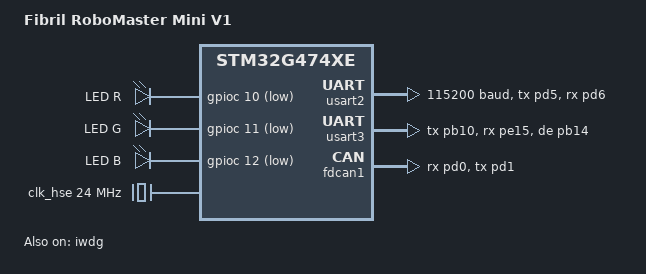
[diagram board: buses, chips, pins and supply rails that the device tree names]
/*
 * SPDX-License-Identifier: Apache-2.0
 *
 * Board configuration for the Fibril RoboMaster Mini V1. Pin assignments are
 * taken from CanMotorMbed/src/targets/robomaster_miniv1 so that hardware built
 * for that firmware works unmodified.
 */

/dts-v1/;
#include <st/g4/stm32g474Xe.dtsi>
#include <st/g4/stm32g474v(b-c-e)tx-pinctrl.dtsi>

/ {
	model = "Fibril RoboMaster Mini V1";
	compatible = "fibril,robomaster-miniv1";

	chosen {
		zephyr,console = &usart2;
		zephyr,shell-uart = &usart2;
		zephyr,sram = &sram0;
		zephyr,flash = &flash0;
	};

	leds: leds {
		compatible = "gpio-leds";

		led_r: led_r {
			gpios = <&gpioc 10 GPIO_ACTIVE_LOW>;
			label = "LED R";
		};

		led_g: led_g {
			gpios = <&gpioc 11 GPIO_ACTIVE_LOW>;
			label = "LED G";
		};

		led_b: led_b {
			gpios = <&gpioc 12 GPIO_ACTIVE_LOW>;
			label = "LED B";
		};
	};

	aliases {
		led0 = &led_g;
		watchdog0 = &iwdg;
	};
};

/* HSE 24 MHz crystal -> PLL -> 160 MHz SYSCLK. HSI48 is left on so USB and other
 * 48 MHz peripherals can source from it through CLK48_SEL when needed.
 */
&clk_hse {
	clock-frequency = <DT_FREQ_M(24)>;
	status = "okay";
};

&clk_hsi48 {
	status = "okay";
};

/* PLL_Q is used as the FDCAN kernel clock (see &fdcan1 below). We need it at
 * or below FDCAN's 80 MHz ceiling and high enough that the 5 Mbps FD data
 * phase has integer time-quanta per bit. VCO = 24 MHz / div-m * mul-n = 320
 * MHz, so div-q = 4 lands PLL_Q at 80 MHz — 16 tq @ 5 Mbps, 80 tq @ 1 Mbps.
 * HSE (24 MHz) would leave 4.8 tq/bit at 5 Mbps, which is not representable.
 */
&pll {
	div-m = <6>;
	mul-n = <80>;
	div-p = <2>;
	div-q = <4>;
	div-r = <2>;
	clocks = <&clk_hse>;
	status = "okay";
};

&rcc {
	clocks = <&pll>;
	clock-frequency = <DT_FREQ_M(160)>;
	ahb-prescaler = <1>;
	apb1-prescaler = <1>;
	apb2-prescaler = <1>;
};

/* Console on the target's STDIO pins (PD5/PD6). */
&usart2 {
	pinctrl-0 = <&usart2_tx_pd5 &usart2_rx_pd6>;
	pinctrl-names = "default";
	current-speed = <115200>;
	status = "okay";
};

/* RS485 bus for the AMT21x encoders. TX=PB10, RX=PE15, DE=PB14. Left disabled
 * here so overlays can add the amt21 child nodes and pick baud / DMA settings.
 */
&usart3 {
	pinctrl-0 = <&usart3_tx_pb10 &usart3_rx_pe15 &usart3_de_pb14>;
	pinctrl-names = "default";
};

/* Kernel clock is PLL_Q at 80 MHz — the FDCAN ceiling. That kernel rate is
 * shared across every FDCAN instance on this SoC and is high enough to divide
 * cleanly at both 1 Mbps arbitration (80 tq/bit) and 5 Mbps FD data (16 tq/bit).
 * Overlays only need to flip status to "okay" and set the bitrate.
 */
&fdcan1 {
	clocks = <&rcc STM32_CLOCK(APB1, 25)>,
		 <&rcc STM32_SRC_PLL_Q FDCAN_SEL(1)>;
	pinctrl-0 = <&fdcan1_rx_pd0 &fdcan1_tx_pd1>;
	pinctrl-names = "default";
};

&iwdg {
	status = "okay";
};

&flash0 {
	partitions {
		compatible = "fixed-partitions";
		#address-cells = <1>;
		#size-cells = <1>;

		boot_partition: partition@0 {
			label = "mcuboot";
			reg = <0x00000000 DT_SIZE_K(48)>;
			read-only;
		};

		slot0_partition: partition@c000 {
			label = "image-0";
			reg = <0x0000c000 DT_SIZE_K(228)>;
		};

		slot1_partition: partition@45000 {
			label = "image-1";
			reg = <0x00045000 DT_SIZE_K(228)>;
		};

		storage_partition: partition@7e000 {
			label = "storage";
			reg = <0x0007e000 DT_SIZE_K(8)>;
		};
	};
};
